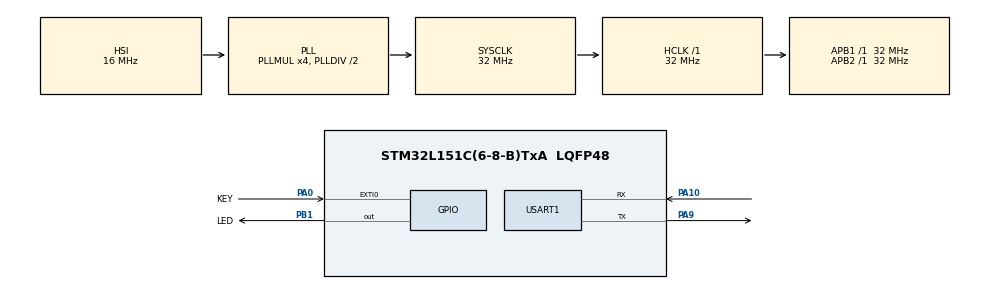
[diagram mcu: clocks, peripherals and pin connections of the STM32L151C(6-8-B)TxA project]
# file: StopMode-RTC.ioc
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Mcu.Family=STM32L1
Mcu.Name=STM32L151C(6-8-B)TxA
Mcu.Package=LQFP48
NVIC.EXTI0_IRQn=true\:0\:0\:false
NVIC.PriorityGroup=NVIC_PRIORITYGROUP_4
NVIC.RTC_WKUP_IRQn=true\:0\:0\:false
PA0-WKUP1.GPIO_Label=KEY
PA0-WKUP1.GPIO_ModeDefaultEXTI=GPIO_MODE_IT_RISING
PA0-WKUP1.GPIO_PuPd=GPIO_PULLDOWN
PA0-WKUP1.Signal=GPXTI0
PA10.Mode=Asynchronous
PA10.Signal=USART1_RX
PA13.Mode=Serial-Wire
PA13.Signal=SYS_JTMS-SWDIO
PA14.Mode=Serial-Wire
PA14.Signal=SYS_JTCK-SWCLK
PA9.Mode=Asynchronous
PA9.Signal=USART1_TX
PB1.GPIO_Label=LED
PB1.GPIO_PuPd=GPIO_NOPULL
PB1.Signal=GPIO_Output
ProjectManager.HeapSize=0x400
ProjectManager.StackSize=0x200
ProjectManager.TargetToolchain=EWARM
RCC.AHBFreq_Value=32000000
RCC.APB1Freq_Value=32000000
RCC.APB1TimFreq_Value=32000000
RCC.APB2Freq_Value=32000000
RCC.APB2TimFreq_Value=32000000
RCC.HCLKFreq_Value=32000000
RCC.HSE_VALUE=8000000
RCC.HSI_VALUE=16000000
RCC.LSE_VALUE=32768
RCC.MSIClockRange=RCC_MSIRANGE_3
RCC.MSI_VALUE=524288
RCC.PLLMUL=RCC_PLL_MUL4
RCC.RTCClockSelection=RCC_RTCCLKSOURCE_LSI
RCC.RTCClockSelectionVirtual=RCC_RTCCLKSOURCE_LSI
RCC.SYSCLKFreq_VALUE=32000000
RCC.SYSCLKSource=RCC_SYSCLKSOURCE_PLLCLK
RCC.USBOutput=32000000
RCC.VCOOutputFreq_Value=64000000
RTC.WakeUpClock=RTC_WAKEUPCLOCK_RTCCLK_DIV16
RTC.WakeUpCounter=11562
VP_RTC_VS_RTC_WakeUp_intern.Mode=WakeUp
board=StopMode-RTC

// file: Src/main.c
/**
******************************************************************************
* File Name          : main.c
* Description        : Main program body
******************************************************************************
*
* COPYRIGHT(c) 2015 STMicroelectronics
*
* Redistribution and use in source and binary forms, with or without modification,
* are permitted provided that the following conditions are met:
*   1. Redistributions of source code must retain the above copyright notice,
*      this list of conditions and the following disclaimer.
*   2. Redistributions in binary form must reproduce the above copyright notice,
*      this list of conditions and the following disclaimer in the documentation
*      and/or other materials provided with the distribution.
*   3. Neither the name of STMicroelectronics nor the names of its contributors
*      may be used to endorse or promote products derived from this software
*      without specific prior written permission.
*
* THIS SOFTWARE IS PROVIDED BY THE COPYRIGHT HOLDERS AND CONTRIBUTORS "AS IS"
* AND ANY EXPRESS OR IMPLIED WARRANTIES, INCLUDING, BUT NOT LIMITED TO, THE
* IMPLIED WARRANTIES OF MERCHANTABILITY AND FITNESS FOR A PARTICULAR PURPOSE ARE
* DISCLAIMED. IN NO EVENT SHALL THE COPYRIGHT HOLDER OR CONTRIBUTORS BE LIABLE
* FOR ANY DIRECT, INDIRECT, INCIDENTAL, SPECIAL, EXEMPLARY, OR CONSEQUENTIAL
* DAMAGES (INCLUDING, BUT NOT LIMITED TO, PROCUREMENT OF SUBSTITUTE GOODS OR
* SERVICES; LOSS OF USE, DATA, OR PROFITS; OR BUSINESS INTERRUPTION) HOWEVER
* CAUSED AND ON ANY THEORY OF LIABILITY, WHETHER IN CONTRACT, STRICT LIABILITY,
* OR TORT (INCLUDING NEGLIGENCE OR OTHERWISE) ARISING IN ANY WAY OUT OF THE USE
* OF THIS SOFTWARE, EVEN IF ADVISED OF THE POSSIBILITY OF SUCH DAMAGE.
*
******************************************************************************
*/
#include "stm32l1xx_hal.h"
#include "rtc.h"
#include "usart.h"
#include "gpio.h"

/* USER CODE BEGIN PV */
/* Private variables ---------------------------------------------------------*/

/* USER CODE END PV */

void SystemClock_Config(void);

/* USER CODE BEGIN PFP */
/* Private function prototypes -----------------------------------------------*/
void power_exit_stop(void);
void power_enter_stop(void);
/* USER CODE END PFP */

/* USER CODE BEGIN 0 */
__IO uint8_t sec = 0;

/* USER CODE END 0 */

int main(void)
{

	/* MCU Configuration----------------------------------------------------------*/

	/* Reset of all peripherals, Initializes the Flash interface and the Systick. */
	HAL_Init();

	/* Configure the system clock */
	SystemClock_Config();

	/* Initialize all configured peripherals */
	MX_GPIO_Init();
	MX_RTC_Init();
	MX_USART1_UART_Init();

	/* USER CODE BEGIN 2 */
	// 禁用比较器
	__COMP_CLK_DISABLE();

		/* 禁止唤醒时钟计数 */
	HAL_RTCEx_DeactivateWakeUpTimer(&hrtc);

	// 低功耗模式下RTC 允许访问 ，RTC唤醒需要
	HAL_PWR_EnableBkUpAccess();
	//HAL_PWR_DisableBkUpAccess();

	// 禁止 PVD
	HAL_PWR_DisablePVD();

	// 动态电压调整范围 低功耗睡眠、低功耗运行模式才有效果
	/* Set Voltage scale1 as MCU will run at 32MHz */
	//__HAL_PWR_VOLTAGESCALING_CONFIG(PWR_REGULATOR_VOLTAGE_SCALE1);
	/* Poll VOSF bit of in PWR_CSR. Wait until it is reset to 0 */
	//while (__HAL_PWR_GET_FLAG(PWR_FLAG_VOS) != RESET) {};

	// 关闭VREFINT	少3uA
	HAL_PWREx_EnableUltraLowPower();
	// 忽略VREFINT 加快启动速度
	HAL_PWREx_EnableFastWakeUp();

	// 允许/禁用 调试端口 少800uA
	HAL_DBGMCU_DisableDBGStopMode();
	//HAL_DBGMCU_EnableDBGStopMode();

	/* USER CODE END 2 */

	/* Infinite loop */
	/* USER CODE BEGIN WHILE */
	while (1)
	{
		LED_ON;
		HAL_Delay(1000);
		printf("Run!\r\n");
		sec++;
		if(sec>5){
			sec=0;
			power_enter_stop();
		}
		/* USER CODE END WHILE */

	}

}

/** System Clock Configuration
*/
void SystemClock_Config(void)
{

	RCC_OscInitTypeDef RCC_OscInitStruct;
	RCC_ClkInitTypeDef RCC_ClkInitStruct;
	RCC_PeriphCLKInitTypeDef PeriphClkInit;

	__PWR_CLK_ENABLE();

	__HAL_PWR_VOLTAGESCALING_CONFIG(PWR_REGULATOR_VOLTAGE_SCALE1);

	RCC_OscInitStruct.OscillatorType = RCC_OSCILLATORTYPE_HSI|RCC_OSCILLATORTYPE_LSI;
	RCC_OscInitStruct.HSIState = RCC_HSI_ON;
	RCC_OscInitStruct.HSICalibrationValue = 16;
	RCC_OscInitStruct.LSIState = RCC_LSI_ON;
	RCC_OscInitStruct.PLL.PLLState = RCC_PLL_ON;
	RCC_OscInitStruct.PLL.PLLSource = RCC_PLLSOURCE_HSI;
	RCC_OscInitStruct.PLL.PLLMUL = RCC_PLL_MUL4;
	RCC_OscInitStruct.PLL.PLLDIV = RCC_PLL_DIV2;
	HAL_RCC_OscConfig(&RCC_OscInitStruct);

	RCC_ClkInitStruct.ClockType = RCC_CLOCKTYPE_SYSCLK;
	RCC_ClkInitStruct.SYSCLKSource = RCC_SYSCLKSOURCE_PLLCLK;
	RCC_ClkInitStruct.AHBCLKDivider = RCC_SYSCLK_DIV1;
	RCC_ClkInitStruct.APB1CLKDivider = RCC_HCLK_DIV1;
	RCC_ClkInitStruct.APB2CLKDivider = RCC_HCLK_DIV1;
	HAL_RCC_ClockConfig(&RCC_ClkInitStruct, FLASH_LATENCY_1);

	PeriphClkInit.PeriphClockSelection = RCC_PERIPHCLK_RTC;
	PeriphClkInit.RTCClockSelection = RCC_RTCCLKSOURCE_LSI;
	HAL_RCCEx_PeriphCLKConfig(&PeriphClkInit);

	HAL_SYSTICK_Config(HAL_RCC_GetHCLKFreq()/1000);

	HAL_SYSTICK_CLKSourceConfig(SYSTICK_CLKSOURCE_HCLK);

	/* SysTick_IRQn interrupt configuration */
	HAL_NVIC_SetPriority(SysTick_IRQn, 0, 0);
}

/* USER CODE BEGIN 4 */
/**	Enter Stop Mode
***************************************/
void power_enter_stop(void)
{
	GPIO_InitTypeDef GPIO_InitStruct={0};

	printf("=== Power Stop ===\r\n");
	LED_OFF;
	HAL_UART_MspDeInit(&huart1);

	//UART1;	减少16uA
	GPIO_InitStruct.Pin = GPIO_PIN_9|GPIO_PIN_10;
	GPIO_InitStruct.Mode = GPIO_MODE_ANALOG;
	GPIO_InitStruct.Pull = GPIO_NOPULL;
	GPIO_InitStruct.Speed = GPIO_SPEED_VERY_LOW;
	HAL_GPIO_Init(GPIOA, &GPIO_InitStruct);

	__GPIOA_CLK_DISABLE();
	__GPIOB_CLK_DISABLE();
	__GPIOC_CLK_DISABLE();
	__GPIOH_CLK_DISABLE();

	// PIN1 连接到 PWR->CR 的 PWR_FLAG_WU 标记
	// 用于唤醒后，判断WKUP按钮状态
	HAL_PWR_EnableWakeUpPin(PWR_WAKEUP_PIN1);

	/*## Configure the Wake up timer ###########################################*/
	/*  RTC Wakeup Interrupt Generation:
	Wakeup Time Base = (RTC_WAKEUPCLOCK_RTCCLK_DIV /(LSI))
	Wakeup Time = Wakeup Time Base * WakeUpCounter
	= (RTC_WAKEUPCLOCK_RTCCLK_DIV /(LSI)) * WakeUpCounter
	==> WakeUpCounter = Wakeup Time / Wakeup Time Base

	To configure the wake up timer to 4s the WakeUpCounter is set to 0x242B:
	RTC_WAKEUPCLOCK_RTCCLK_DIV = RTCCLK_Div16 = 16
	Wakeup Time Base = 16 /(~37KHz) = ~0,432 ms
	Wakeup Time = ~5s = 0,432ms  * WakeUpCounter
	==> WakeUpCounter = ~5s/0,432ms = 11562 */
	// rtc 唤醒采用LSI时钟，第一参数，计数溢出唤醒；第二参数：进行16分配，
	HAL_RTCEx_SetWakeUpTimer_IT(&hrtc, 11562, RTC_WAKEUPCLOCK_RTCCLK_DIV16);

	/* Enter Stop Mode */
	//	__HAL_PWR_VOLTAGESCALING_CONFIG(PWR_REGULATOR_VOLTAGE_SCALE3);
	//	/* Poll VOSF bit of in PWR_CSR. Wait until it is reset to 0 */
	//	while (__HAL_PWR_GET_FLAG(PWR_FLAG_VOS) != RESET) {};
	// 进入停机模式
	// PWR_LOWPOWERREGULATOR_ON 稳压器工作在动态低功耗模式 减少2uA
	// PWR_STOPENTRY_WFI	中断唤醒
	HAL_PWR_EnterSTOPMode(PWR_LOWPOWERREGULATOR_ON, PWR_STOPENTRY_WFI);

}

/**	Exit STOP mode
***************************************/
void power_exit_stop(void)
{
	/* 禁止唤醒时钟计数 */
	HAL_RTCEx_DeactivateWakeUpTimer(&hrtc);

	//STOP模式唤醒之后，默认运行MSI 时钟，需要重新配置系统时钟
	SystemClock_Config();

	// 清除唤醒标记 减少重复唤醒电流，减少3uA
	__HAL_PWR_CLEAR_FLAG(PWR_FLAG_WU);

	// 停止 PIN1 连接到 PWR->CR 的 PWR_FLAG_WU 标记
	// 用于在工作状态判断WKUP按钮状态
	HAL_PWR_DisableWakeUpPin(PWR_WAKEUP_PIN1);

	__GPIOA_CLK_ENABLE();
	__GPIOB_CLK_ENABLE();

	HAL_UART_MspInit(&huart1);	//重新初始化串口
}

/**
* @brief  RTC 唤醒回调函数
* @param  None
* @retval None
*/
void HAL_RTCEx_WakeUpTimerEventCallback(RTC_HandleTypeDef *hrtc)
{
	power_exit_stop();
	printf("  \r\n\r\nRTC Walkup!\r\n");
}

/**
* @brief  外部中断回调函数
* @param  GPIO_Pin: Specifies the port pin connected to corresponding EXTI line.
* @retval None
*/
void HAL_GPIO_EXTI_Callback(uint16_t GPIO_Pin)
{
	if(GPIO_Pin==KEY_Pin){
		// 判断按钮是在普通工作状态、还是唤醒状态
		if(__HAL_PWR_GET_FLAG(PWR_FLAG_WU)!=RESET){
			power_exit_stop();
			printf("  \r\n\r\nExti Walkup!\r\n");
		}else{
			printf("  \r\nExti 0!\r\n");
		}
	}
}

//===================================================  printf uart1
#ifdef __GNUC__
/* With GCC/RAISONANCE, small printf (option LD Linker->Libraries->Small printf
set to 'Yes') calls __io_putchar() */
#define PUTCHAR_PROTOTYPE int __io_putchar(int ch)
#else
#define PUTCHAR_PROTOTYPE int fputc(int ch, FILE *f)
#endif
PUTCHAR_PROTOTYPE
{
	while(__HAL_UART_GET_FLAG(&huart1, UART_FLAG_TC) == RESET);
#ifdef __STM32F0xx_HAL_H

	huart1.Instance->TDR = (uint8_t)ch;
#endif

#ifdef __STM32F1xx_HAL_H
	huart1.Instance->DR = (uint8_t)ch;
#endif

#ifdef __STM32L1xx_HAL_H
	huart1.Instance->DR = (uint8_t)ch;
#endif

	return ch;
}
/* USER CODE END 4 */

/************************ (C) COPYRIGHT STMicroelectronics *****END OF FILE****/
